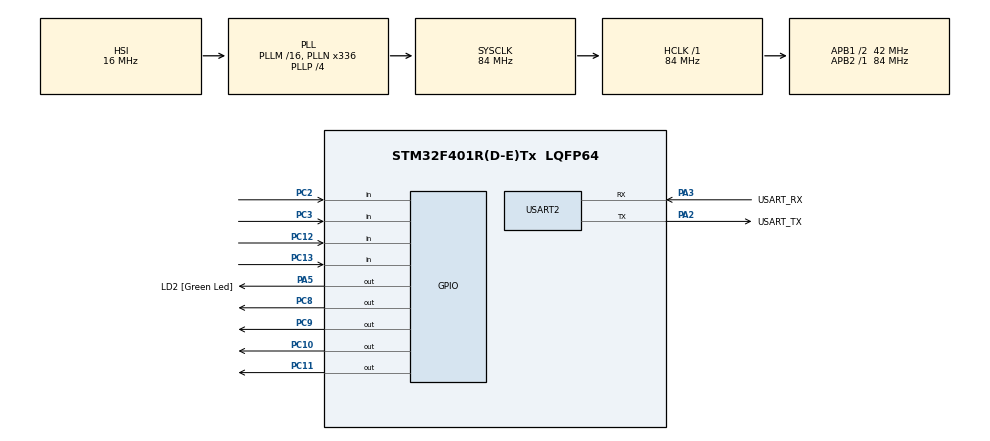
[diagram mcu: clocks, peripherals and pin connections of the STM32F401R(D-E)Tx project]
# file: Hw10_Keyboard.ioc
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Dma.Request0=USART2_TX
Dma.USART2_TX.0.Direction=DMA_MEMORY_TO_PERIPH
Dma.USART2_TX.0.FIFOMode=DMA_FIFOMODE_DISABLE
Dma.USART2_TX.0.Instance=DMA1_Stream6
Dma.USART2_TX.0.MemDataAlignment=DMA_MDATAALIGN_BYTE
Dma.USART2_TX.0.MemInc=DMA_MINC_ENABLE
Dma.USART2_TX.0.Mode=DMA_NORMAL
Dma.USART2_TX.0.PeriphDataAlignment=DMA_PDATAALIGN_BYTE
Dma.USART2_TX.0.PeriphInc=DMA_PINC_DISABLE
Dma.USART2_TX.0.Priority=DMA_PRIORITY_LOW
Mcu.Family=STM32F4
Mcu.Name=STM32F401R(D-E)Tx
Mcu.Package=LQFP64
NVIC.DMA1_Stream6_IRQn=true\:0\:0\:false\:false\:true\:false\:true\:true
NVIC.PriorityGroup=NVIC_PRIORITYGROUP_4
NVIC.TIM2_IRQn=true\:0\:0\:false\:false\:true\:true\:true\:true
NVIC.USART2_IRQn=true\:0\:0\:false\:false\:true\:true\:true\:true
PA13.GPIO_Label=TMS
PA13.Mode=Trace_Asynchronous_SW
PA13.Signal=SYS_JTMS-SWDIO
PA14.GPIO_Label=TCK
PA14.Mode=Trace_Asynchronous_SW
PA14.Signal=SYS_JTCK-SWCLK
PA2.GPIO_Label=USART_TX
PA2.GPIO_Mode=GPIO_MODE_AF_PP
PA2.GPIO_PuPd=GPIO_NOPULL
PA2.GPIO_Speed=GPIO_SPEED_FREQ_LOW
PA2.Mode=Asynchronous
PA2.Signal=USART2_TX
PA3.GPIO_Label=USART_RX
PA3.GPIO_Mode=GPIO_MODE_AF_PP
PA3.GPIO_PuPd=GPIO_NOPULL
PA3.GPIO_Speed=GPIO_SPEED_FREQ_LOW
PA3.Mode=Asynchronous
PA3.Signal=USART2_RX
PA5.GPIO_Label=LD2 [Green Led]
PA5.GPIO_Mode=GPIO_MODE_OUTPUT_PP
PA5.GPIO_PuPd=GPIO_NOPULL
PA5.GPIO_Speed=GPIO_SPEED_FREQ_LOW
PA5.Signal=GPIO_Output
PB3.GPIO_Label=SWO
PB3.Mode=Trace_Asynchronous_SW
PB3.Signal=SYS_JTDO-SWO
PC10.Signal=GPIO_Output
PC11.Signal=GPIO_Output
PC12.Signal=GPIO_Input
PC13-ANTI_TAMP.Signal=GPIO_Input
PC14-OSC32_IN.Mode=LSE-External-Oscillator
PC14-OSC32_IN.Signal=RCC_OSC32_IN
PC15-OSC32_OUT.Mode=LSE-External-Oscillator
PC15-OSC32_OUT.Signal=RCC_OSC32_OUT
PC2.Signal=GPIO_Input
PC3.Signal=GPIO_Input
PC8.Signal=GPIO_Output
PC9.Signal=GPIO_Output
PH0\ -\ OSC_IN.Mode=HSE-External-Clock-Source
PH0\ -\ OSC_IN.Signal=RCC_OSC_IN
PH1\ -\ OSC_OUT.Mode=HSE-External-Clock-Source
PH1\ -\ OSC_OUT.Signal=RCC_OSC_OUT
ProjectManager.HeapSize=0x200
ProjectManager.StackSize=0x400
ProjectManager.TargetToolchain=STM32CubeIDE
RCC.48MHZClocksFreq_Value=48000000
RCC.AHBFreq_Value=84000000
RCC.APB1CLKDivider=RCC_HCLK_DIV2
RCC.APB1Freq_Value=42000000
RCC.APB1TimFreq_Value=84000000
RCC.APB2Freq_Value=84000000
RCC.APB2TimFreq_Value=84000000
RCC.CortexFreq_Value=84000000
RCC.HCLKFreq_Value=84000000
RCC.HSE_VALUE=8000000
RCC.HSI_VALUE=16000000
RCC.PLLN=336
RCC.PLLP=RCC_PLLP_DIV4
RCC.PLLQ=7
RCC.SYSCLKFreq_VALUE=84000000
RCC.SYSCLKSource=RCC_SYSCLKSOURCE_PLLCLK
RCC.VCOOutputFreq_Value=336000000
TIM2.Period=19
TIM2.Prescaler=8399
USART2.VirtualMode=VM_ASYNC
VP_TIM2_VS_ClockSourceINT.Mode=Internal
board=NUCLEO-F401RE

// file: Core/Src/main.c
/* USER CODE BEGIN Header */
/**
  ******************************************************************************
  * @file           : main.c
  * @brief          : Main program body
  ******************************************************************************
  * @attention
  *
  * Copyright (c) 2025 STMicroelectronics.
  * All rights reserved.
  *
  * This software is licensed under terms that can be found in the LICENSE file
  * in the root directory of this software component.
  * If no LICENSE file comes with this software, it is provided AS-IS.
  *
  ******************************************************************************
  */
/* USER CODE END Header */
#include "main.h"

/* USER CODE BEGIN Includes */
#include "stdio.h"
/* USER CODE END Includes */

/* USER CODE BEGIN PD */
#define DEBOUNCE 50
/* USER CODE END PD */

TIM_HandleTypeDef htim2;

UART_HandleTypeDef huart2;
DMA_HandleTypeDef hdma_usart2_tx;

/* USER CODE BEGIN PV */
const uint16_t ROW_PINS[4] = {GPIO_PIN_3, GPIO_PIN_2, GPIO_PIN_13, GPIO_PIN_12};
const uint16_t COLUMN_PINS[4] = {GPIO_PIN_11, GPIO_PIN_10, GPIO_PIN_9, GPIO_PIN_8};

const char KEY_MAP[4][4] = {
		{'F', 'E', 'D', 'C'},
		{'B', 'A', '9', '8'},
		{'7', '6', '5', '4'},
		{'3', '2', '1', '0'}};

volatile int current_column = 0;
uint32_t last_tick_matrix[4][4] = {0};
uint8_t key_pressed_state[4][4] = {0};

char string[8];
/* USER CODE END PV */

void SystemClock_Config(void);
static void MX_GPIO_Init(void);
static void MX_DMA_Init(void);
static void MX_USART2_UART_Init(void);
static void MX_TIM2_Init(void);

/* USER CODE BEGIN 0 */
void sendToTerminal(char c) {
	int length = snprintf(string, sizeof(string), "%c\n", c);
	HAL_UART_Transmit_DMA(&huart2, (uint8_t *)string, length);
}

void HAL_TIM_PeriodElapsedCallback(TIM_HandleTypeDef *htim) {
	if (htim->Instance == TIM2) {
		for (int i = 0; i < 4; i ++) {
			if (!HAL_GPIO_ReadPin(GPIOC, ROW_PINS[i])) {
				if (key_pressed_state[i][current_column] == 0) {
					uint32_t current_tick = HAL_GetTick();
					if((current_tick - last_tick_matrix[i][current_column]) > DEBOUNCE) {
						sendToTerminal(KEY_MAP[i][current_column]);
						key_pressed_state[i][current_column] = 1;
						last_tick_matrix[i][current_column] = current_tick;
					}
				}
			} else {
				key_pressed_state[i][current_column] = 0;
				last_tick_matrix[i][current_column] = HAL_GetTick();
			}
		}

		HAL_GPIO_WritePin(GPIOC, COLUMN_PINS[current_column], GPIO_PIN_RESET);
		current_column = (current_column + 1) % 4;
		HAL_GPIO_WritePin(GPIOC, COLUMN_PINS[current_column], GPIO_PIN_SET);
	}
}
/* USER CODE END 0 */

int main(void)
{

  /* MCU Configuration--------------------------------------------------------*/

  /* Reset of all peripherals, Initializes the Flash interface and the Systick. */
  HAL_Init();

  /* Configure the system clock */
  SystemClock_Config();

  /* Initialize all configured peripherals */
  MX_GPIO_Init();
  MX_DMA_Init();
  MX_USART2_UART_Init();
  MX_TIM2_Init();
  /* USER CODE BEGIN 2 */
  HAL_GPIO_WritePin(GPIOC, COLUMN_PINS[current_column], GPIO_PIN_SET);
  HAL_TIM_Base_Start_IT(&htim2);
  /* USER CODE END 2 */

  /* Infinite loop */
  while (1)
  {

  }
}

void SystemClock_Config(void)
{
  RCC_OscInitTypeDef RCC_OscInitStruct = {0};
  RCC_ClkInitTypeDef RCC_ClkInitStruct = {0};

  /** Configure the main internal regulator output voltage
  */
  __HAL_RCC_PWR_CLK_ENABLE();
  __HAL_PWR_VOLTAGESCALING_CONFIG(PWR_REGULATOR_VOLTAGE_SCALE2);

  /** Initializes the RCC Oscillators according to the specified parameters
  * in the RCC_OscInitTypeDef structure.
  */
  RCC_OscInitStruct.OscillatorType = RCC_OSCILLATORTYPE_HSI;
  RCC_OscInitStruct.HSIState = RCC_HSI_ON;
  RCC_OscInitStruct.HSICalibrationValue = RCC_HSICALIBRATION_DEFAULT;
  RCC_OscInitStruct.PLL.PLLState = RCC_PLL_ON;
  RCC_OscInitStruct.PLL.PLLSource = RCC_PLLSOURCE_HSI;
  RCC_OscInitStruct.PLL.PLLM = 16;
  RCC_OscInitStruct.PLL.PLLN = 336;
  RCC_OscInitStruct.PLL.PLLP = RCC_PLLP_DIV4;
  RCC_OscInitStruct.PLL.PLLQ = 7;
  if (HAL_RCC_OscConfig(&RCC_OscInitStruct) != HAL_OK)
  {
    Error_Handler();
  }

  /** Initializes the CPU, AHB and APB buses clocks
  */
  RCC_ClkInitStruct.ClockType = RCC_CLOCKTYPE_HCLK|RCC_CLOCKTYPE_SYSCLK
                              |RCC_CLOCKTYPE_PCLK1|RCC_CLOCKTYPE_PCLK2;
  RCC_ClkInitStruct.SYSCLKSource = RCC_SYSCLKSOURCE_PLLCLK;
  RCC_ClkInitStruct.AHBCLKDivider = RCC_SYSCLK_DIV1;
  RCC_ClkInitStruct.APB1CLKDivider = RCC_HCLK_DIV2;
  RCC_ClkInitStruct.APB2CLKDivider = RCC_HCLK_DIV1;

  if (HAL_RCC_ClockConfig(&RCC_ClkInitStruct, FLASH_LATENCY_2) != HAL_OK)
  {
    Error_Handler();
  }
}

static void MX_TIM2_Init(void)
{

  TIM_ClockConfigTypeDef sClockSourceConfig = {0};
  TIM_MasterConfigTypeDef sMasterConfig = {0};

  htim2.Instance = TIM2;
  htim2.Init.Prescaler = 8399;
  htim2.Init.CounterMode = TIM_COUNTERMODE_UP;
  htim2.Init.Period = 19;
  htim2.Init.ClockDivision = TIM_CLOCKDIVISION_DIV1;
  htim2.Init.AutoReloadPreload = TIM_AUTORELOAD_PRELOAD_DISABLE;
  if (HAL_TIM_Base_Init(&htim2) != HAL_OK)
  {
    Error_Handler();
  }
  sClockSourceConfig.ClockSource = TIM_CLOCKSOURCE_INTERNAL;
  if (HAL_TIM_ConfigClockSource(&htim2, &sClockSourceConfig) != HAL_OK)
  {
    Error_Handler();
  }
  sMasterConfig.MasterOutputTrigger = TIM_TRGO_RESET;
  sMasterConfig.MasterSlaveMode = TIM_MASTERSLAVEMODE_DISABLE;
  if (HAL_TIMEx_MasterConfigSynchronization(&htim2, &sMasterConfig) != HAL_OK)
  {
    Error_Handler();
  }

}

static void MX_USART2_UART_Init(void)
{

  huart2.Instance = USART2;
  huart2.Init.BaudRate = 115200;
  huart2.Init.WordLength = UART_WORDLENGTH_8B;
  huart2.Init.StopBits = UART_STOPBITS_1;
  huart2.Init.Parity = UART_PARITY_NONE;
  huart2.Init.Mode = UART_MODE_TX_RX;
  huart2.Init.HwFlowCtl = UART_HWCONTROL_NONE;
  huart2.Init.OverSampling = UART_OVERSAMPLING_16;
  if (HAL_UART_Init(&huart2) != HAL_OK)
  {
    Error_Handler();
  }

}

static void MX_DMA_Init(void)
{

  /* DMA controller clock enable */
  __HAL_RCC_DMA1_CLK_ENABLE();

  /* DMA interrupt init */
  /* DMA1_Stream6_IRQn interrupt configuration */
  HAL_NVIC_SetPriority(DMA1_Stream6_IRQn, 0, 0);
  HAL_NVIC_EnableIRQ(DMA1_Stream6_IRQn);

}

static void MX_GPIO_Init(void)
{
  GPIO_InitTypeDef GPIO_InitStruct = {0};

  /* GPIO Ports Clock Enable */
  __HAL_RCC_GPIOC_CLK_ENABLE();
  __HAL_RCC_GPIOH_CLK_ENABLE();
  __HAL_RCC_GPIOA_CLK_ENABLE();
  __HAL_RCC_GPIOB_CLK_ENABLE();

  /*Configure GPIO pin Output Level */
  HAL_GPIO_WritePin(LD2_GPIO_Port, LD2_Pin, GPIO_PIN_RESET);

  /*Configure GPIO pin Output Level */
  HAL_GPIO_WritePin(GPIOC, GPIO_PIN_8|GPIO_PIN_9|GPIO_PIN_10|GPIO_PIN_11, GPIO_PIN_RESET);

  /*Configure GPIO pins : PC13 PC2 PC3 PC12 */
  GPIO_InitStruct.Pin = GPIO_PIN_13|GPIO_PIN_2|GPIO_PIN_3|GPIO_PIN_12;
  GPIO_InitStruct.Mode = GPIO_MODE_INPUT;
  GPIO_InitStruct.Pull = GPIO_NOPULL;
  HAL_GPIO_Init(GPIOC, &GPIO_InitStruct);

  /*Configure GPIO pin : LD2_Pin */
  GPIO_InitStruct.Pin = LD2_Pin;
  GPIO_InitStruct.Mode = GPIO_MODE_OUTPUT_PP;
  GPIO_InitStruct.Pull = GPIO_NOPULL;
  GPIO_InitStruct.Speed = GPIO_SPEED_FREQ_LOW;
  HAL_GPIO_Init(LD2_GPIO_Port, &GPIO_InitStruct);

  /*Configure GPIO pins : PC8 PC9 PC10 PC11 */
  GPIO_InitStruct.Pin = GPIO_PIN_8|GPIO_PIN_9|GPIO_PIN_10|GPIO_PIN_11;
  GPIO_InitStruct.Mode = GPIO_MODE_OUTPUT_PP;
  GPIO_InitStruct.Pull = GPIO_NOPULL;
  GPIO_InitStruct.Speed = GPIO_SPEED_FREQ_LOW;
  HAL_GPIO_Init(GPIOC, &GPIO_InitStruct);

}

void Error_Handler(void)
{
  __disable_irq();
  while (1)
  {
  }
}
